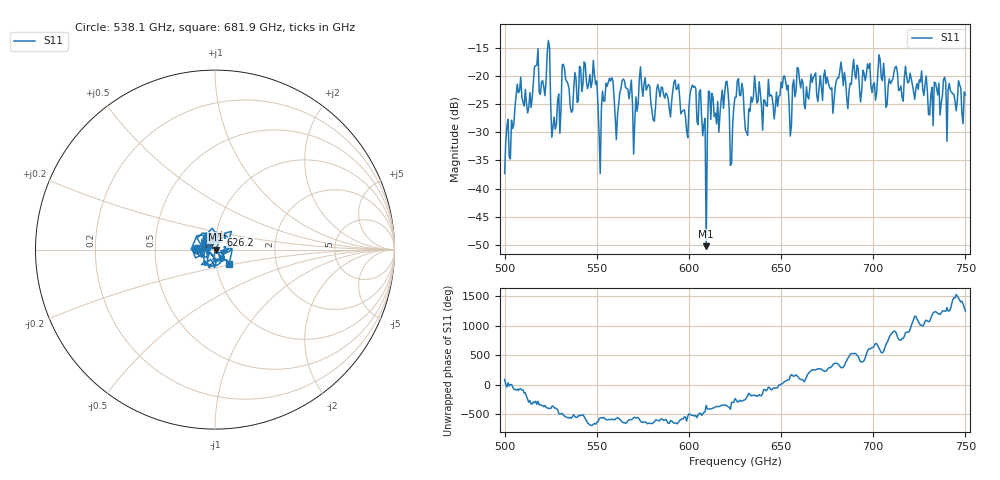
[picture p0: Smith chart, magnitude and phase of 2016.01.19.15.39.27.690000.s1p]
!Created with skrf (http://scikit-rf.org).
# GHz S RI R 50.0
!freq ReS11 ImS11
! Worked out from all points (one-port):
!   401 points, 500 GHz to 750 GHz, reference 50 ohm
!   lowest |S11| = -50.2 dB at 609.4 GHz (marker M1), VSWR 1.01, Z = 50.3 + j0.0474 ohm
!   |S11| at or under -10 dB: start of sweep to end of sweep
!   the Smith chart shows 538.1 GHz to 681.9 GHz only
!   S11 on the Smith chart (normalised r, x): 538.1 GHz: 0.81, +0.01; 626.2 GHz: 1.06, +0.18; 681.9 GHz: 1.15, -0.18
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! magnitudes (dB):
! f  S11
! 500 GHz  -37.3
! 507.5 GHz  -23.0
! 513.8 GHz  -23.0
! 516.9 GHz  -18.2
! 523.8 GHz  -13.7
! 526.9 GHz  -27.3
! 531.2 GHz  -18.1
! 538.1 GHz  -19.4
! 548.8 GHz  -19.9
! 551.9 GHz  -37.3
! 556.2 GHz  -21.2
! 562.5 GHz  -23.0
! 593.8 GHz  -22.3
! 598.1 GHz  -27.3
! 602.5 GHz  -22.1
! 609.4 GHz  -50.2
! 611.9 GHz  -27.7
! 620.6 GHz  -21.0
! 623.1 GHz  -35.6
! 625 GHz  -23.8
! 626.2 GHz  -20.9
! 631.2 GHz  -30.0
! 636.9 GHz  -24.9
! 656.2 GHz  -21.7
! 681.9 GHz  -19.1
! 687.5 GHz  -21.3
! 718.8 GHz  -21.3
! 750 GHz  -23.4
